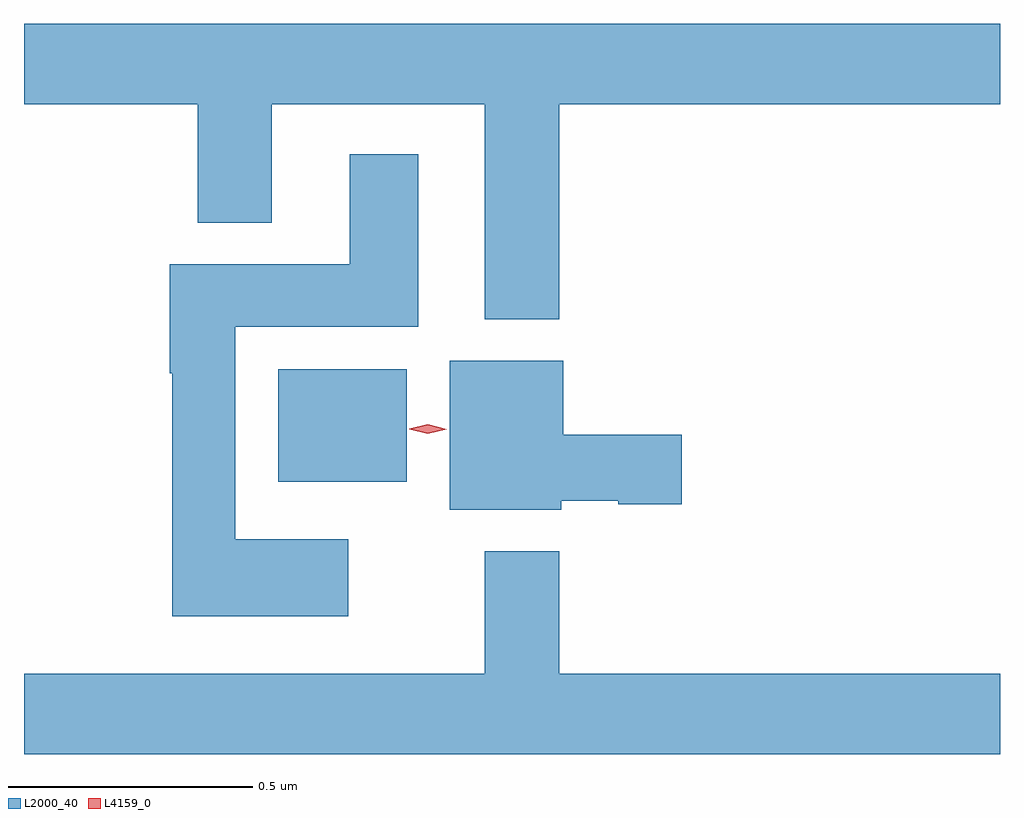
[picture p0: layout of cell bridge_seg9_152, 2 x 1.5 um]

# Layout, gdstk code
import gdstk
lib = gdstk.Library(unit=1e-6, precision=1e-09)
def R(c, l, rs):  # rectangles x0, y0, x1, y1
    for r in rs: c.add(gdstk.rectangle(r[:2], r[2:], *l))
def P(c, l, *ps):  # polygons
    for p in ps: c.add(gdstk.Polygon(p, *l))
L2000_40 = (2000, 40)
L4159_0 = (4159, 0)

bridge_seg9_152 = lib.new_cell('bridge_seg9_152')
R(bridge_seg9_152, L2000_40, [(556.958,1195.646,557.221,1195.876)])
P(bridge_seg9_152, L2000_40, [(557.534,1196.42),(558.437,1196.42),(558.437,1196.584),(556.437,1196.584),(556.437,1196.42),(556.793,1196.42),(556.793,1196.177),(556.945,1196.177),(556.945,1196.42),(557.381,1196.42),(557.381,1195.979),(557.534,1195.979)],
  [(557.101,1195.528),(556.87,1195.528),(556.87,1195.964),(557.245,1195.964),(557.245,1196.317),(557.105,1196.317),(557.105,1196.092),(556.736,1196.092),(556.736,1195.868),(556.741,1195.868),(556.741,1195.37),(557.101,1195.37)],
  [(557.538,1195.607),(557.655,1195.607),(557.655,1195.6),(557.785,1195.6),(557.785,1195.742),(557.542,1195.742),(557.542,1195.894),(557.309,1195.894),(557.309,1195.589),(557.538,1195.589)],
  [(558.437,1195.252),(557.534,1195.252),(557.534,1195.504),(557.381,1195.504),(557.381,1195.252),(556.437,1195.252),(556.437,1195.088),(558.437,1195.088)])
P(bridge_seg9_152, L4159_0, [(557.264,1195.744),(557.226,1195.754),(557.226,1195.754),(557.226,1195.755),(557.264,1195.764),(557.303,1195.754),(557.303,1195.754),(557.303,1195.754)])

lib.write_gds('bridge_seg9_152.gds')
